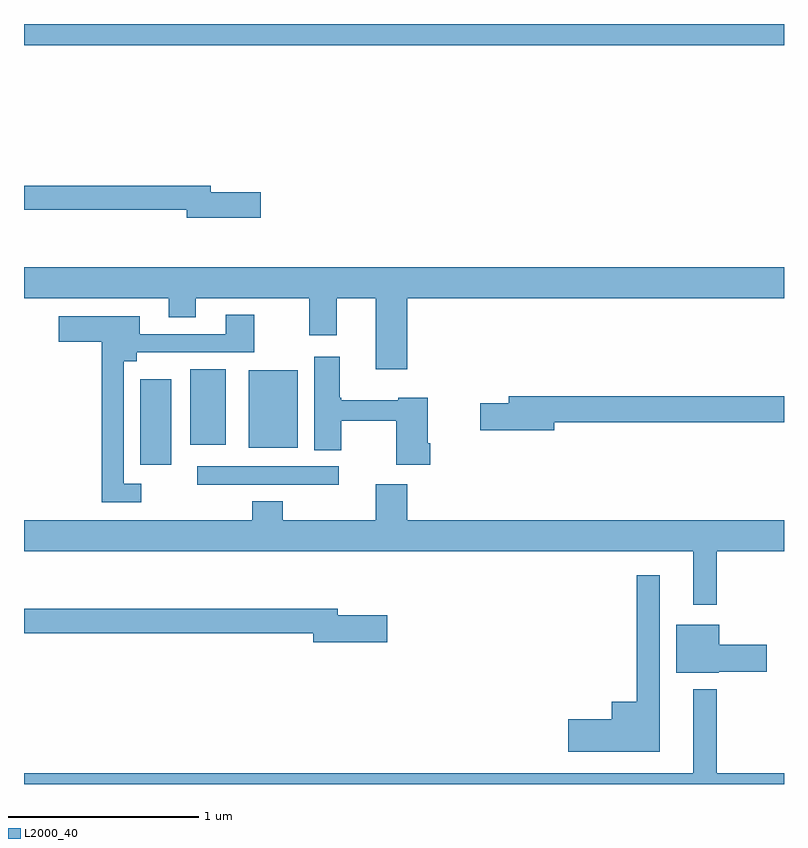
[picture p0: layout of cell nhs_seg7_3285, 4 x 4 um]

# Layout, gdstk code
import gdstk
lib = gdstk.Library(unit=1e-6, precision=1e-09)
def R(c, l, rs):  # rectangles x0, y0, x1, y1
    for r in rs: c.add(gdstk.rectangle(r[:2], r[2:], *l))
def P(c, l, *ps):  # polygons
    for p in ps: c.add(gdstk.Polygon(p, *l))
L2000_40 = (2000, 40)

nhs_seg7_3285 = lib.new_cell('nhs_seg7_3285')
R(nhs_seg7_3285, L2000_40, [(319.911,1059.576,320.656,1059.672), (319.613,1059.681,319.774,1060.129), (320.183,1059.77,320.44,1060.177), (319.874,1059.785,320.062,1060.183), (319,1061.888,323,1062)])
P(nhs_seg7_3285, L2000_40, [(320.245,1061.114),(319.984,1061.114),(319.984,1061.15),(319,1061.15),(319,1061.022),(319.856,1061.022),(319.856,1060.979),(320.245,1060.979)],
  [(321.016,1060.556),(323,1060.556),(323,1060.72),(319,1060.72),(319,1060.556),(319.763,1060.556),(319.763,1060.457),(319.903,1060.457),(319.903,1060.556),(320.5,1060.556),(320.5,1060.362),(320.647,1060.362),(320.647,1060.556),(320.852,1060.556),(320.852,1060.182),(321.016,1060.182)],
  [(319.618,1059.579),(319.524,1059.579),(319.524,1060.226),(319.594,1060.226),(319.594,1060.272),(320.211,1060.272),(320.211,1060.471),(320.063,1060.471),(320.063,1060.368),(319.609,1060.368),(319.609,1060.462),(319.182,1060.462),(319.182,1060.328),(319.408,1060.328),(319.408,1059.483),(319.618,1059.483)],
  [(321.137,1059.793),(321.124,1059.793),(321.124,1060.033),(320.97,1060.033),(320.97,1060.021),(320.67,1060.021),(320.67,1060.033),(320.662,1060.033),(320.662,1060.249),(320.528,1060.249),(320.528,1059.757),(320.67,1059.757),(320.67,1059.912),(320.959,1059.912),(320.959,1059.681),(321.137,1059.681)],
  [(321.79,1059.904),(323,1059.904),(323,1060.04),(321.551,1060.04),(321.551,1060.004),(321.402,1060.004),(321.402,1059.862),(321.79,1059.862)],
  [(322.645,1059.224),(323,1059.224),(323,1059.388),(321.016,1059.388),(321.016,1059.577),(320.852,1059.577),(320.852,1059.388),(320.361,1059.388),(320.361,1059.487),(320.201,1059.487),(320.201,1059.388),(319,1059.388),(319,1059.224),(322.523,1059.224),(322.523,1058.943),(322.645,1058.943)],
  [(322.345,1059.1),(322.224,1059.1),(322.224,1058.434),(322.094,1058.434),(322.094,1058.342),(321.864,1058.342),(321.864,1058.171),(322.345,1058.171)],
  [(320.911,1058.889),(320.65,1058.889),(320.65,1058.923),(319,1058.923),(319,1058.794),(320.522,1058.794),(320.522,1058.747),(320.911,1058.747)],
  [(322.656,1058.591),(322.909,1058.591),(322.909,1058.733),(322.66,1058.733),(322.66,1058.839),(322.433,1058.839),(322.433,1058.585),(322.656,1058.585)],
  [(323,1058.056),(322.645,1058.056),(322.645,1058.5),(322.523,1058.5),(322.523,1058.056),(319,1058.056),(319,1058),(323,1058)])

lib.write_gds('nhs_seg7_3285.gds')
